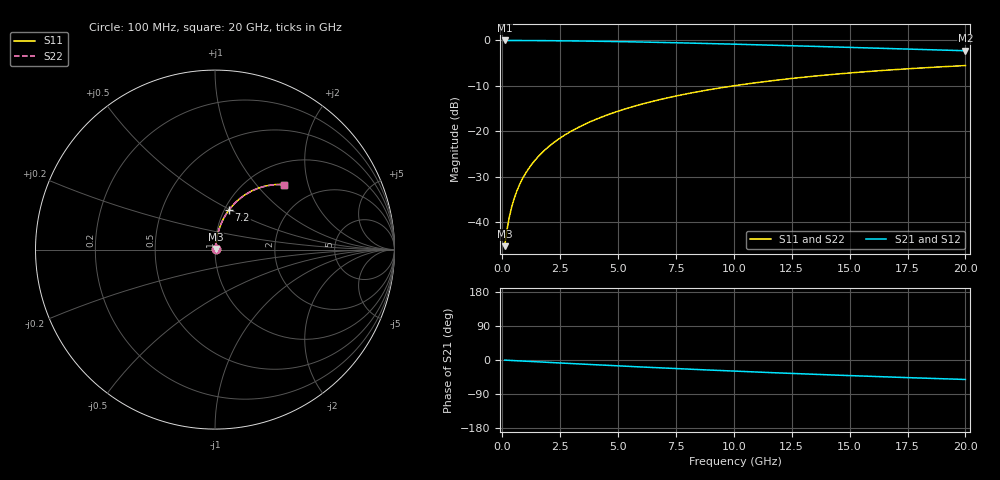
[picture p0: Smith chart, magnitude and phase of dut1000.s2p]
! Touchstone file exported from HFSS 2024.1.0
!  File:  C:/UserFiles/LocalFiles/RDL_TSV_Batchsim/temp_RDL_bottom_1000_1780049926.aedt
!  Generated:  06:21:10 PM May 29, 2026
!  Design:  RDL_bottom
!  Project:  temp_RDL_bottom_1000_1780049926
!  Setup:  Setup1
!  Solution:  Sweep
! Variables:
!  dtsv = 10.80580581um
!  hbump = 3um
!  htsv = 95.54um
!  ldown = 679.7um
!  lrdl = 100um
!  p = 40
!  p1 = 56.97um
!  rhole = 1um
!  t = 450um
!  tdown = 4.09um
!  trdl = 3.915915916um
!  wdown = 14.18um
!  wrdl = 20um
# GHz S MA R 50.000000
! Terminal data exported
! Port[1] = RDL1_T1
! Port[2] = RDL1_T2
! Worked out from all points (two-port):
!   200 points, 100 MHz to 20 GHz, reference 50 ohm
!   highest |S21| = -0.04 dB at 100 MHz (marker M1); lowest = -2.3 dB at 20 GHz (marker M2)
!   |S21| within 3 dB of the highest: start of sweep to end of sweep
!   lowest |S11| = -45.2 dB at 100 MHz (marker M3), VSWR 1.01, Z = 50.4 + j0.355 ohm
!   |S11| at or under -10 dB: start of sweep to 9.988 GHz
!   |S22| runs from -45.2 to -5.6 dB; largest |S21 - S12| = 4.1e-15
!   S11 on the Smith chart (normalised r, x): 100 MHz: 1.01, +0.01; 7.2 GHz: 1.05, +0.49; 20 GHz: 1.41, +1.42
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0.1  0.005497 39.8  0.9958 -0.3  0.9958 -0.3  0.005497 39.8
! Gamma 0 0 0 0
! Port Impedance 50 0 50 0
0.2  0.008244 58.1  0.9957 -0.7  0.9957 -0.7  0.008244 58.1
0.3  0.01137 66.5  0.9955 -1.0  0.9955 -1.0  0.01137 66.5
0.4  0.01461 71.1  0.9953 -1.3  0.9953 -1.3  0.01461 71.1
0.5  0.01789 73.9  0.9951 -1.6  0.9951 -1.6  0.01789 73.9
0.6  0.02118 75.8  0.9949 -1.9  0.9949 -1.9  0.02118 75.8
0.8  0.0278 78.2  0.9945 -2.6  0.9945 -2.6  0.0278 78.2
1.1  0.0378 79.9  0.9938 -3.5  0.9938 -3.5  0.0378 79.9
1.5  0.05118 80.7  0.9925 -4.8  0.9925 -4.8  0.05117 80.7
1.8  0.06122 80.8  0.9913 -5.7  0.9913 -5.7  0.06122 80.8
2.1  0.07125 80.7  0.9899 -6.7  0.9899 -6.7  0.07125 80.7
2.7  0.09127 80.0  0.9866 -8.5  0.9866 -8.5  0.09126 80.0
3.5  0.1178 78.6  0.9811 -11.0  0.9811 -11.0  0.1178 78.6
4.2  0.1407 77.2  0.9754 -13.1  0.9754 -13.1  0.1407 77.2
5  0.1666 75.5  0.9679 -15.5  0.9679 -15.5  0.1666 75.5
6.8  0.2233 71.4  0.9482 -20.7  0.9482 -20.7  0.2232 71.4
7.2  0.2355 70.5  0.9434 -21.8  0.9434 -21.8  0.2354 70.4
8.6  0.2771 67.2  0.9256 -25.6  0.9256 -25.6  0.2769 67.2
10.1  0.3193 63.8  0.9054 -29.5  0.9054 -29.5  0.3191 63.7
13.4  0.4025 56.4  0.8587 -37.6  0.8587 -37.6  0.4022 56.3
16.7  0.4718 49.5  0.812 -44.8  0.812 -44.8  0.4714 49.5
20  0.5279 43.3  0.7678 -51.4  0.7678 -51.4  0.5274 43.2
